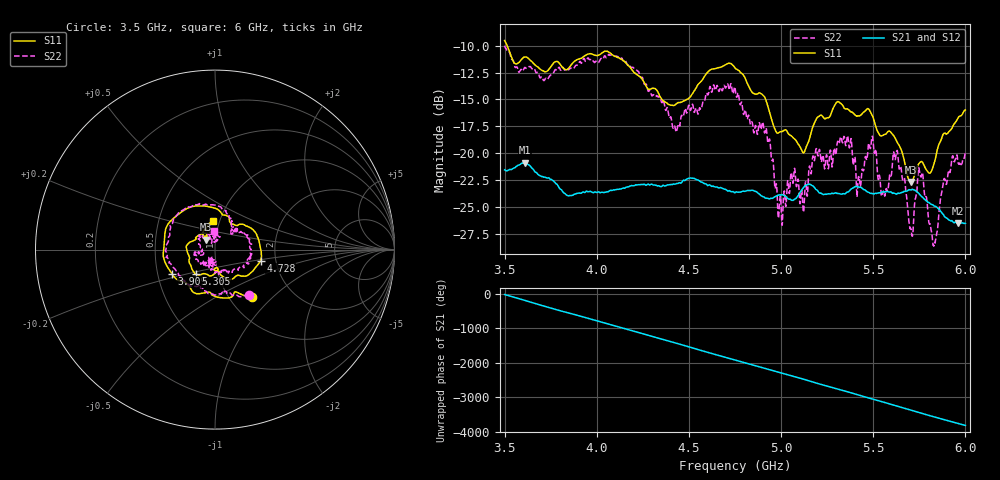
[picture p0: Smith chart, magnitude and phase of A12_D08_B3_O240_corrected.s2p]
! Created with skrf 1.9.0 (http://scikit-rf.org).
# Hz S RI R 50.0
!freq ReS11 ImS11 ReS21 ImS21 ReS12 ImS12 ReS22 ImS22
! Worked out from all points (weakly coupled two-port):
!   1601 points, 3.5 GHz to 6 GHz, reference 50 ohm
!   highest |S21| = -20.89 dB at 3.609 GHz (marker M1); lowest = -26.5 dB at 5.959 GHz (marker M2)
!   lowest |S11| = -22.7 dB at 5.705 GHz (marker M3), VSWR 1.16, Z = 45.1 + j5.05 ohm
!   |S11| at or under -10 dB: 3.514 GHz to end of sweep
!   |S22| runs from -28.6 to -10.0 dB; largest |S21 - S12| = 0.0012
!   S11 on the Smith chart (normalised r, x): 3.5 GHz: 1.27, -0.75; 3.909 GHz: 0.59, -0.17; 4.728 GHz: 1.66, -0.22; 5.305 GHz: 0.78, -0.22; 6 GHz: 0.93, +0.30
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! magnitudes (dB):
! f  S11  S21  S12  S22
! 3.5 GHz  -9.5  -21.5  -21.5  -10.0
! 3.609 GHz  -11.1  -20.9  -20.9  -12.0
! 3.909 GHz  -11.2  -23.7  -23.7  -11.5
! 3.917 GHz  -11.2  -23.7  -23.7  -11.6
! 4.334 GHz  -14.4  -23.0  -23.0  -14.7
! 4.425 GHz  -15.5  -22.9  -22.8  -17.6
! 4.728 GHz  -11.7  -23.6  -23.5  -13.5
! 4.75 GHz  -12.1  -23.7  -23.6  -13.9
! 4.911 GHz  -14.8  -24.1  -24.1  -18.1
! 4.995 GHz  -18.0  -23.9  -23.8  -24.0
! 5.167 GHz  -17.8  -23.0  -23.0  -21.2
! 5.305 GHz  -15.2  -23.7  -23.7  -19.1
! 5.37 GHz  -16.0  -23.5  -23.5  -19.5
! 5.42 GHz  -16.5  -23.1  -23.2  -22.2
! 5.489 GHz  -16.3  -23.7  -23.7  -19.0
! 5.584 GHz  -17.9  -23.6  -23.6  -22.8
! 5.623 GHz  -18.7  -23.8  -23.8  -20.2
! 5.705 GHz  -22.7  -23.4  -23.4  -27.1
! 5.756 GHz  -20.8  -23.9  -23.9  -22.1
! 5.834 GHz  -20.7  -24.9  -24.9  -28.3
! 5.959 GHz  -16.7  -26.5  -26.5  -20.7
! 6 GHz  -16.0  -26.5  -26.5  -19.8
